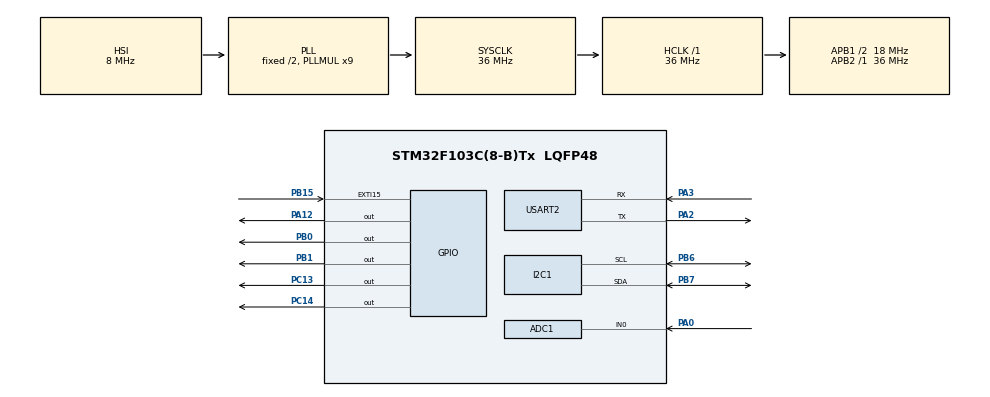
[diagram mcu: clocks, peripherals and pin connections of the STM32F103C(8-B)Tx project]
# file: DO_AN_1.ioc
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ADC1.Channel-2\#ChannelRegularConversion=ADC_CHANNEL_0
ADC1.ContinuousConvMode=ENABLE
ADC1.NbrOfConversionFlag=1
ADC1.Rank-2\#ChannelRegularConversion=1
ADC1.SamplingTime-2\#ChannelRegularConversion=ADC_SAMPLETIME_239CYCLES_5
ADC1.master=1
Mcu.Family=STM32F1
Mcu.Name=STM32F103C(8-B)Tx
Mcu.Package=LQFP48
NVIC.ADC1_2_IRQn=true\:6\:0\:true\:false\:true\:true\:true\:true
NVIC.EXTI15_10_IRQn=true\:0\:0\:false\:false\:true\:true\:true\:true
NVIC.PriorityGroup=NVIC_PRIORITYGROUP_4
NVIC.TIM2_IRQn=true\:0\:0\:false\:false\:true\:true\:true\:true
NVIC.TIM3_IRQn=true\:0\:0\:false\:false\:true\:true\:true\:true
NVIC.TIM4_IRQn=true\:15\:0\:false\:false\:true\:false\:true\:true
NVIC.TimeBase=TIM4_IRQn
NVIC.TimeBaseIP=TIM4
NVIC.USART2_IRQn=true\:0\:0\:false\:false\:true\:true\:true\:true
PA0-WKUP.Signal=ADCx_IN0
PA12.Signal=GPIO_Output
PA13.Mode=Serial_Wire
PA13.Signal=SYS_JTMS-SWDIO
PA14.Mode=Serial_Wire
PA14.Signal=SYS_JTCK-SWCLK
PA2.Mode=Asynchronous
PA2.Signal=USART2_TX
PA3.Mode=Asynchronous
PA3.Signal=USART2_RX
PB0.Signal=GPIO_Output
PB1.Signal=GPIO_Output
PB15.GPIO_ModeDefaultEXTI=GPIO_MODE_IT_FALLING
PB15.GPIO_PuPd=GPIO_PULLUP
PB15.Signal=GPXTI15
PB6.Mode=I2C
PB6.Signal=I2C1_SCL
PB7.Mode=I2C
PB7.Signal=I2C1_SDA
PC13-TAMPER-RTC.Signal=GPIO_Output
PC14-OSC32_IN.GPIO_PuPd=GPIO_PULLUP
PC14-OSC32_IN.Signal=GPIO_Output
PD0-OSC_IN.Mode=HSE-External-Oscillator
PD0-OSC_IN.Signal=RCC_OSC_IN
PD1-OSC_OUT.Mode=HSE-External-Oscillator
PD1-OSC_OUT.Signal=RCC_OSC_OUT
ProjectManager.HeapSize=0x200
ProjectManager.StackSize=0x400
ProjectManager.TargetToolchain=MDK-ARM V5.32
RCC.ADCPresc=RCC_ADCPCLK2_DIV4
RCC.AHBFreq_Value=36000000
RCC.APB1CLKDivider=RCC_HCLK_DIV2
RCC.APB1Freq_Value=18000000
RCC.APB1TimFreq_Value=36000000
RCC.APB2Freq_Value=36000000
RCC.APB2TimFreq_Value=36000000
RCC.HCLKFreq_Value=36000000
RCC.PLLMUL=RCC_PLL_MUL9
RCC.SYSCLKFreq_VALUE=36000000
RCC.SYSCLKSource=RCC_SYSCLKSOURCE_PLLCLK
RCC.USBFreq_Value=36000000
SH.ADCx_IN0.0=ADC1_IN0,IN0
TIM1.AutoReloadPreload=TIM_AUTORELOAD_PRELOAD_ENABLE
TIM1.Period=65535
TIM1.Prescaler=35
TIM2.AutoReloadPreload=TIM_AUTORELOAD_PRELOAD_ENABLE
TIM2.Period=53999
TIM2.Prescaler=99
TIM3.AutoReloadPreload=TIM_AUTORELOAD_PRELOAD_ENABLE
USART2.VirtualMode=VM_ASYNC
VP_SYS_VS_tim4.Mode=TIM4
VP_TIM1_VS_ClockSourceINT.Mode=Internal
VP_TIM2_VS_ClockSourceINT.Mode=Internal
VP_TIM3_VS_ClockSourceINT.Mode=Internal
board=custom

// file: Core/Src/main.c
/* USER CODE BEGIN Header */
/**
  ******************************************************************************
  * @file           : main.c
  * @brief          : Main program body
  ******************************************************************************
  * @attention
  *
  * Copyright (c) 2023 STMicroelectronics.
  * All rights reserved.
  *
  * This software is licensed under terms that can be found in the LICENSE file
  * in the root directory of this software component.
  * If no LICENSE file comes with this software, it is provided AS-IS.
  *
  ******************************************************************************
  */
/* USER CODE END Header */
#include "main.h"

/* USER CODE BEGIN Includes */

#include <stdio.h>
#include "stdlib.h"
#include "string.h"

#include "Humd.h"
#include "Temp.h"
#include "LCD_I2C.h"
/* USER CODE END Includes */

/* USER CODE BEGIN PD */
#define START_BYTE 1
#define END_BYTE 2
#define ERROR_FRAME 3
#define UART_BUFFER_LEN 6
/* USER CODE END PD */

ADC_HandleTypeDef hadc1;

I2C_HandleTypeDef hi2c1;

TIM_HandleTypeDef htim1;
TIM_HandleTypeDef htim2;
TIM_HandleTypeDef htim3;

UART_HandleTypeDef huart2;

/* USER CODE BEGIN PV */
void trans(char *s)
{
	HAL_UART_Transmit(&huart2, (uint8_t*)s, strlen(s), HAL_MAX_DELAY);
}
typedef enum user
{
	Mode_Normal,
	Mode_Humd,
	Mode_Temp
} user_t;
user_t Mode = Mode_Normal;

double Temp = 0.0;

uint16_t adcv;// bien toan cuc ADC

volatile int a ;
int Humd ;
uint32_t tg;
volatile uint32_t frequency = 0;  // bien tan so toan cuc
volatile int flag_period ;
int hh;
uint8_t rx_data;
int check;

int t1,t2,t;

uint8_t Period = 0;
uint8_t ucRxData;
uint8_t ucRxBuffer[UART_BUFFER_LEN] = {0};
uint8_t ucRxFlag = 0;
uint8_t ucRxCnt = 0;
uint8_t flag_receive = 0;
uint8_t flag_trans = 0;

/* USER CODE END PV */

void SystemClock_Config(void);
static void MX_GPIO_Init(void);
static void MX_I2C1_Init(void);
static void MX_TIM1_Init(void);
static void MX_ADC1_Init(void);
static void MX_USART2_UART_Init(void);
static void MX_TIM2_Init(void);
static void MX_TIM3_Init(void);
/* USER CODE BEGIN PFP */

void HumdTask(void);
void TempTask(void);
void LCDHumdTask(void);
void LCDTempTask(void);
//void LCDTask(void);
void UARTTask(void);

/* USER CODE END PFP */

/* USER CODE BEGIN 0 */

/* USER TASK BEGIN */

uint8_t data_rx = 0 ;

/* USER TASK END */

/* USER CODE END 0 */

int main(void)
{

  /* MCU Configuration--------------------------------------------------------*/

  /* Reset of all peripherals, Initializes the Flash interface and the Systick. */
  HAL_Init();

  /* Configure the system clock */
  SystemClock_Config();

  /* Initialize all configured peripherals */
  MX_GPIO_Init();
  MX_I2C1_Init();
  MX_TIM1_Init();
  MX_ADC1_Init();
  MX_USART2_UART_Init();
  MX_TIM2_Init();
  MX_TIM3_Init();
  /* USER CODE BEGIN 2 */
	/*============= Init peripheral===============*/

  HAL_TIM_Base_Start(&htim1);// Bat timer
	HAL_TIM_Base_Start_IT(&htim2);
	HAL_TIM_Base_Start_IT(&htim3);
  LCD_I2C_Init();// Khoi dong LCD_I2C
 // HAL_ADC_Start_IT(&hadc1);// Bat ADC
	HAL_UART_Receive_IT(&huart2,&data_rx,1); // khoi dong ngat nhan uart

	void (*ptr[])(void) = {
		&HumdTask,
		&LCDHumdTask,
		&TempTask,
		&LCDTempTask,
		//&LCDTask,
		&UARTTask
	};
  /* USER CODE END 2 */

  /* Infinite loop */
  while (1)
  {

    /* USER CODE BEGIN 3 */

		if( flag_period == 1)
		{
			for(int i = 0; i < 5 ;i++)
			{
				(*ptr[i])();

			}
			flag_period = 0;
		}
  }
  /* USER CODE END 3 */
}

void SystemClock_Config(void)
{
  RCC_OscInitTypeDef RCC_OscInitStruct = {0};
  RCC_ClkInitTypeDef RCC_ClkInitStruct = {0};
  RCC_PeriphCLKInitTypeDef PeriphClkInit = {0};

  /** Initializes the RCC Oscillators according to the specified parameters
  * in the RCC_OscInitTypeDef structure.
  */
  RCC_OscInitStruct.OscillatorType = RCC_OSCILLATORTYPE_HSI;
  RCC_OscInitStruct.HSIState = RCC_HSI_ON;
  RCC_OscInitStruct.HSICalibrationValue = RCC_HSICALIBRATION_DEFAULT;
  RCC_OscInitStruct.PLL.PLLState = RCC_PLL_ON;
  RCC_OscInitStruct.PLL.PLLSource = RCC_PLLSOURCE_HSI_DIV2;
  RCC_OscInitStruct.PLL.PLLMUL = RCC_PLL_MUL9;
  if (HAL_RCC_OscConfig(&RCC_OscInitStruct) != HAL_OK)
  {
    Error_Handler();
  }

  /** Initializes the CPU, AHB and APB buses clocks
  */
  RCC_ClkInitStruct.ClockType = RCC_CLOCKTYPE_HCLK|RCC_CLOCKTYPE_SYSCLK
                              |RCC_CLOCKTYPE_PCLK1|RCC_CLOCKTYPE_PCLK2;
  RCC_ClkInitStruct.SYSCLKSource = RCC_SYSCLKSOURCE_PLLCLK;
  RCC_ClkInitStruct.AHBCLKDivider = RCC_SYSCLK_DIV1;
  RCC_ClkInitStruct.APB1CLKDivider = RCC_HCLK_DIV2;
  RCC_ClkInitStruct.APB2CLKDivider = RCC_HCLK_DIV1;

  if (HAL_RCC_ClockConfig(&RCC_ClkInitStruct, FLASH_LATENCY_1) != HAL_OK)
  {
    Error_Handler();
  }
  PeriphClkInit.PeriphClockSelection = RCC_PERIPHCLK_ADC;
  PeriphClkInit.AdcClockSelection = RCC_ADCPCLK2_DIV4;
  if (HAL_RCCEx_PeriphCLKConfig(&PeriphClkInit) != HAL_OK)
  {
    Error_Handler();
  }
}

static void MX_ADC1_Init(void)
{

  ADC_ChannelConfTypeDef sConfig = {0};

  /** Common config
  */
  hadc1.Instance = ADC1;
  hadc1.Init.ScanConvMode = ADC_SCAN_DISABLE;
  hadc1.Init.ContinuousConvMode = ENABLE;
  hadc1.Init.DiscontinuousConvMode = DISABLE;
  hadc1.Init.ExternalTrigConv = ADC_SOFTWARE_START;
  hadc1.Init.DataAlign = ADC_DATAALIGN_RIGHT;
  hadc1.Init.NbrOfConversion = 1;
  if (HAL_ADC_Init(&hadc1) != HAL_OK)
  {
    Error_Handler();
  }

  /** Configure Regular Channel
  */
  sConfig.Channel = ADC_CHANNEL_0;
  sConfig.Rank = ADC_REGULAR_RANK_1;
  sConfig.SamplingTime = ADC_SAMPLETIME_239CYCLES_5;
  if (HAL_ADC_ConfigChannel(&hadc1, &sConfig) != HAL_OK)
  {
    Error_Handler();
  }

}

static void MX_I2C1_Init(void)
{

  hi2c1.Instance = I2C1;
  hi2c1.Init.ClockSpeed = 100000;
  hi2c1.Init.DutyCycle = I2C_DUTYCYCLE_2;
  hi2c1.Init.OwnAddress1 = 0;
  hi2c1.Init.AddressingMode = I2C_ADDRESSINGMODE_7BIT;
  hi2c1.Init.DualAddressMode = I2C_DUALADDRESS_DISABLE;
  hi2c1.Init.OwnAddress2 = 0;
  hi2c1.Init.GeneralCallMode = I2C_GENERALCALL_DISABLE;
  hi2c1.Init.NoStretchMode = I2C_NOSTRETCH_DISABLE;
  if (HAL_I2C_Init(&hi2c1) != HAL_OK)
  {
    Error_Handler();
  }

}

static void MX_TIM1_Init(void)
{

  TIM_ClockConfigTypeDef sClockSourceConfig = {0};
  TIM_MasterConfigTypeDef sMasterConfig = {0};

  htim1.Instance = TIM1;
  htim1.Init.Prescaler = 35;
  htim1.Init.CounterMode = TIM_COUNTERMODE_UP;
  htim1.Init.Period = 65535;
  htim1.Init.ClockDivision = TIM_CLOCKDIVISION_DIV1;
  htim1.Init.RepetitionCounter = 0;
  htim1.Init.AutoReloadPreload = TIM_AUTORELOAD_PRELOAD_ENABLE;
  if (HAL_TIM_Base_Init(&htim1) != HAL_OK)
  {
    Error_Handler();
  }
  sClockSourceConfig.ClockSource = TIM_CLOCKSOURCE_INTERNAL;
  if (HAL_TIM_ConfigClockSource(&htim1, &sClockSourceConfig) != HAL_OK)
  {
    Error_Handler();
  }
  sMasterConfig.MasterOutputTrigger = TIM_TRGO_RESET;
  sMasterConfig.MasterSlaveMode = TIM_MASTERSLAVEMODE_DISABLE;
  if (HAL_TIMEx_MasterConfigSynchronization(&htim1, &sMasterConfig) != HAL_OK)
  {
    Error_Handler();
  }

}

static void MX_TIM2_Init(void)
{

  TIM_ClockConfigTypeDef sClockSourceConfig = {0};
  TIM_MasterConfigTypeDef sMasterConfig = {0};

  htim2.Instance = TIM2;
  htim2.Init.Prescaler = 599;
  htim2.Init.CounterMode = TIM_COUNTERMODE_UP;
  htim2.Init.Period = 35999;
  htim2.Init.ClockDivision = TIM_CLOCKDIVISION_DIV1;
  htim2.Init.AutoReloadPreload = TIM_AUTORELOAD_PRELOAD_ENABLE;
  if (HAL_TIM_Base_Init(&htim2) != HAL_OK)
  {
    Error_Handler();
  }
  sClockSourceConfig.ClockSource = TIM_CLOCKSOURCE_INTERNAL;
  if (HAL_TIM_ConfigClockSource(&htim2, &sClockSourceConfig) != HAL_OK)
  {
    Error_Handler();
  }
  sMasterConfig.MasterOutputTrigger = TIM_TRGO_RESET;
  sMasterConfig.MasterSlaveMode = TIM_MASTERSLAVEMODE_DISABLE;
  if (HAL_TIMEx_MasterConfigSynchronization(&htim2, &sMasterConfig) != HAL_OK)
  {
    Error_Handler();
  }

}

static void MX_TIM3_Init(void)
{

  TIM_ClockConfigTypeDef sClockSourceConfig = {0};
  TIM_MasterConfigTypeDef sMasterConfig = {0};

  htim3.Instance = TIM3;
  htim3.Init.Prescaler = 399;
  htim3.Init.CounterMode = TIM_COUNTERMODE_UP;
  htim3.Init.Period = 35999;
  htim3.Init.ClockDivision = TIM_CLOCKDIVISION_DIV1;
  htim3.Init.AutoReloadPreload = TIM_AUTORELOAD_PRELOAD_ENABLE;

  if (HAL_TIM_Base_Init(&htim3) != HAL_OK)
  {
    Error_Handler();
  }
  sClockSourceConfig.ClockSource = TIM_CLOCKSOURCE_INTERNAL;
  if (HAL_TIM_ConfigClockSource(&htim3, &sClockSourceConfig) != HAL_OK)
  {
    Error_Handler();
  }
  sMasterConfig.MasterOutputTrigger = TIM_TRGO_RESET;
  sMasterConfig.MasterSlaveMode = TIM_MASTERSLAVEMODE_DISABLE;
  if (HAL_TIMEx_MasterConfigSynchronization(&htim3, &sMasterConfig) != HAL_OK)
  {
    Error_Handler();
  }

}

static void MX_USART2_UART_Init(void)
{

  huart2.Instance = USART2;
  huart2.Init.BaudRate = 115200;
  huart2.Init.WordLength = UART_WORDLENGTH_8B;
  huart2.Init.StopBits = UART_STOPBITS_1;
  huart2.Init.Parity = UART_PARITY_NONE;
  huart2.Init.Mode = UART_MODE_TX_RX;
  huart2.Init.HwFlowCtl = UART_HWCONTROL_NONE;
  huart2.Init.OverSampling = UART_OVERSAMPLING_16;
  if (HAL_UART_Init(&huart2) != HAL_OK)
  {
    Error_Handler();
  }

}

static void MX_GPIO_Init(void)
{
  GPIO_InitTypeDef GPIO_InitStruct = {0};

  /* GPIO Ports Clock Enable */
  __HAL_RCC_GPIOC_CLK_ENABLE();
  __HAL_RCC_GPIOD_CLK_ENABLE();
  __HAL_RCC_GPIOA_CLK_ENABLE();
  __HAL_RCC_GPIOB_CLK_ENABLE();

  /*Configure GPIO pin Output Level */
  HAL_GPIO_WritePin(GPIOC, GPIO_PIN_13|GPIO_PIN_14, GPIO_PIN_RESET);

  /*Configure GPIO pin Output Level */
  HAL_GPIO_WritePin(GPIOB, GPIO_PIN_0|GPIO_PIN_1, GPIO_PIN_RESET);

  /*Configure GPIO pin Output Level */
  HAL_GPIO_WritePin(GPIOA, GPIO_PIN_12, GPIO_PIN_RESET);

  /*Configure GPIO pin : PC13 */
  GPIO_InitStruct.Pin = GPIO_PIN_13;
  GPIO_InitStruct.Mode = GPIO_MODE_OUTPUT_PP;
  GPIO_InitStruct.Pull = GPIO_NOPULL;
  GPIO_InitStruct.Speed = GPIO_SPEED_FREQ_LOW;
  HAL_GPIO_Init(GPIOC, &GPIO_InitStruct);

  /*Configure GPIO pin : PC14 */
  GPIO_InitStruct.Pin = GPIO_PIN_14;
  GPIO_InitStruct.Mode = GPIO_MODE_OUTPUT_PP;
  GPIO_InitStruct.Pull = GPIO_PULLUP;
  GPIO_InitStruct.Speed = GPIO_SPEED_FREQ_LOW;
  HAL_GPIO_Init(GPIOC, &GPIO_InitStruct);

  /*Configure GPIO pins : PB0 PB1 */
  GPIO_InitStruct.Pin = GPIO_PIN_0|GPIO_PIN_1;
  GPIO_InitStruct.Mode = GPIO_MODE_OUTPUT_PP;
  GPIO_InitStruct.Pull = GPIO_NOPULL;
  GPIO_InitStruct.Speed = GPIO_SPEED_FREQ_LOW;
  HAL_GPIO_Init(GPIOB, &GPIO_InitStruct);

  /*Configure GPIO pin : PB15 */
  GPIO_InitStruct.Pin = GPIO_PIN_15;
  GPIO_InitStruct.Mode = GPIO_MODE_IT_FALLING;
  GPIO_InitStruct.Pull = GPIO_PULLUP;
  HAL_GPIO_Init(GPIOB, &GPIO_InitStruct);

  /*Configure GPIO pin : PA12 */
  GPIO_InitStruct.Pin = GPIO_PIN_12;
  GPIO_InitStruct.Mode = GPIO_MODE_OUTPUT_PP;
  GPIO_InitStruct.Pull = GPIO_NOPULL;
  GPIO_InitStruct.Speed = GPIO_SPEED_FREQ_LOW;
  HAL_GPIO_Init(GPIOA, &GPIO_InitStruct);

  /* EXTI interrupt init*/
  HAL_NVIC_SetPriority(EXTI15_10_IRQn, 0, 0);
  HAL_NVIC_EnableIRQ(EXTI15_10_IRQn);

}

/* USER CODE BEGIN 4 */

void HumdTask(void)
{
	//t1 = (hh*65536 +__HAL_TIM_GetCounter(&htim2));
	HAL_Delay(10);
	Humd = Get_Humd(frequency-1000);
	//t2 = (hh*65536 + __HAL_TIM_GetCounter(&htim2));
	//t = t2 - t1;
}
void TempTask(void)
{

//	t1 = (hh*65536 +__HAL_TIM_GET_COUNTER(&htim3));
	HAL_ADC_Start_IT(&hadc1);
	HAL_Delay(10);
	Temp = temp_convert(adcv);
	HAL_ADC_Stop_IT(&hadc1);
//	t2 = (hh*65536 + __HAL_TIM_GET_COUNTER(&htim3));
//	t = t2-t1;
}
void LCDHumdTask(void)
//void LCDTask(void)
{
//	t1 = (hh*65536 +__HAL_TIM_GET_COUNTER(&htim3));
				LCD_I2C_Set_Cursor(0,0); // Dat vi tri hang 0, cot 0 cho con tro LCD
			//	LCD_I2C_Clear();// XOA TOAN BO MAN HINH
				LCD_I2C_Write_String("Humd:");//
				LCD_I2C_WRITE_NUMBER(Humd);// IN RA GIA TRI TAN SO
				LCD_I2C_Write_String("%");
				HAL_Delay(80);
//	t2 = (hh*65536 + __HAL_TIM_GET_COUNTER(&htim3));
//	t = t2-t1;
}
void LCDTempTask(void)
{
//	t1 = (hh*65536 +__HAL_TIM_GET_COUNTER(&htim3));
				LCD_I2C_Set_Cursor(1,0);// Vi tri hang 0 cot 1
				LCD_I2C_Write_String("Temp:");

				LCD_I2C_WRITE_Num_f(Temp);// IN RA GIA TRI NHIET DO
				LCD_I2C_WRITE_DATA(0xDF);
				LCD_I2C_WRITE_DATA('C');
				HAL_Delay(80); // DOI  1S
//	t2 = (hh*65536 + __HAL_TIM_GET_COUNTER(&htim3));
//	t = t2-t1;
}
void UARTTask(void)
{
//	t1 = (hh*65536 +__HAL_TIM_GET_COUNTER(&htim3));
	if(flag_receive == 1)
	{
		if( strcmp( (char*) ucRxBuffer, "&norm*" ) == 0 ) Mode = Mode_Normal;
       else if( strcmp( (char*) ucRxBuffer, "&humd*") == 0 ) Mode = Mode_Humd;
       else if( strcmp( (char*) ucRxBuffer, "&temp*") == 0 ) Mode = Mode_Temp;
       else if( ucRxBuffer[1] == 'T' && ucRxBuffer[2] == '_' )
       {
       // check++;
        uint8_t per[2] = { ucRxBuffer[3], ucRxBuffer[4]};
				Period  = atoi( (char*) per);
       }
       memset((char *)ucRxBuffer, 0, strlen((char *)ucRxBuffer));
	  	 ucRxCnt = 0;
       ucRxFlag = 0;
       HAL_UART_Receive_IT(&huart2, &ucRxData, 1);
			 flag_receive = 0;
	}
	if(flag_trans == 1)
	{
		char str[100];
		if(Period != 0)
		{
			 htim2.Init.Prescaler = Period*10 - 1;
		}
		check =  htim2.Init.Prescaler;
		switch(Mode)
		{
			case Mode_Temp:
				sprintf(str, " Temp = %.1lf\n", Temp);
				HAL_UART_Transmit(&huart2, (uint8_t *)str, strlen(str),HAL_MAX_DELAY);
				HAL_Delay(100);
			break;
			case Mode_Humd:
				sprintf(str, "Humd = %d\n",Humd);
				HAL_UART_Transmit(&huart2, (uint8_t*) str, strlen(str), HAL_MAX_DELAY);
				HAL_Delay(100);
			break;
			case Mode_Normal:
				sprintf(str, "Humd = %d\n",Humd);
				HAL_UART_Transmit(&huart2, (uint8_t*) str, strlen(str), HAL_MAX_DELAY);
				HAL_Delay(100);
				sprintf(str, " Temp = %.1lf\n", Temp);
				HAL_UART_Transmit(&huart2, (uint8_t *)str, strlen(str),HAL_MAX_DELAY);
				HAL_Delay(100);
			break;
			default:
				trans("Nhap sai Mode vui long nhap lai\n");
				//HAL_Delay(5);
		}
		flag_trans = 0;
	}
//	t2 = (hh*65536 +__HAL_TIM_GET_COUNTER(&htim3));
//	t = t2 - t1;
}

void HAL_GPIO_EXTI_Callback(uint16_t GPIO_Pin)
{
	if( GPIO_Pin == GPIO_PIN_15)
	{
		uint32_t timer1_count = __HAL_TIM_GET_COUNTER(&htim1); // lay gia tri moi cua timer
    static uint32_t lastTime = 0;
    uint32_t period = (timer1_count - lastTime);

    // tinh tan so
    frequency = 1000000/period; // Chuyen doi ra HZ
		//tg = tg + 1000000/period;
		//a++;
    lastTime = timer1_count;// gia tri cua cua timer
	}
}

void HAL_ADC_ConvCpltCallback(ADC_HandleTypeDef* hadc)
{
	if(hadc -> Instance == hadc1.Instance)
	{
		adcv = 0;
	  adcv= (uint16_t) HAL_ADC_GetValue(&hadc1);// Lay gia tri cua ADC
	}
}

void HAL_UART_RxCpltCallback(UART_HandleTypeDef *huart)
{

//	t1 = (hh*65536 +__HAL_TIM_GET_COUNTER(&htim3));
if(ucRxData == '&')
	{
		memset((char *)ucRxBuffer, 0, strlen((char *)ucRxBuffer));
		ucRxBuffer[0] = ucRxData;
		ucRxFlag = START_BYTE;
		HAL_UART_Receive_IT(&huart2, &ucRxData, 1);
	}
	else if (ucRxFlag == START_BYTE && ucRxCnt < UART_BUFFER_LEN)
	{
		ucRxBuffer[++ucRxCnt] = ucRxData;
		if (ucRxData == '*')
			flag_receive = 1;
		else
			HAL_UART_Receive_IT(&huart2, &ucRxData, 1);
	}
	else if (ucRxCnt == UART_BUFFER_LEN)
	{
		ucRxFlag = ERROR_FRAME;
		memset((char *)ucRxBuffer, 0, strlen((char *)ucRxBuffer));
		ucRxCnt = 0;
		HAL_UART_Receive_IT(&huart2, &ucRxData, 1);
	}
  HAL_UART_Receive_IT(&huart2, &ucRxData, 1);
//	t2 = (hh*65536 +__HAL_TIM_GET_COUNTER(&htim3));
//	t = t2 - t1;
}

/* USER CODE END 4 */

void HAL_TIM_PeriodElapsedCallback(TIM_HandleTypeDef *htim)
{
  if (htim->Instance == TIM4) {
    HAL_IncTick();
  }
  /* USER CODE BEGIN Callback 1 */
	if (htim->Instance == TIM2) {
    //b = 1;
		flag_trans = 1;
  }
	if (htim->Instance == TIM3) {
   flag_period = 1;
  }
  /* USER CODE END Callback 1 */
}

void Error_Handler(void)
{
  __disable_irq();
  while (1)
  {
  }
}
